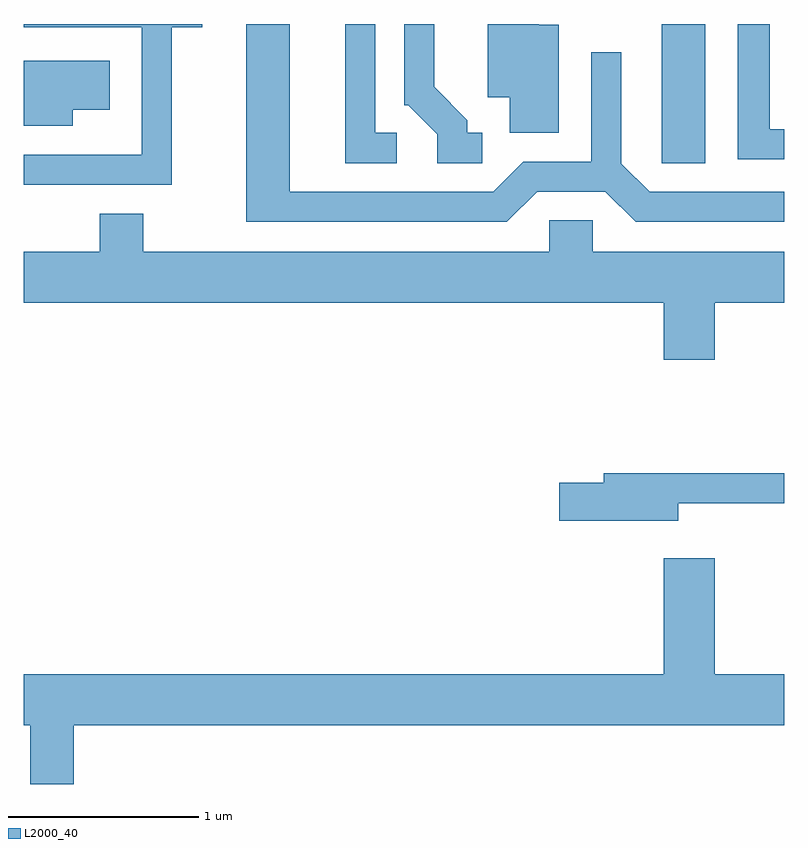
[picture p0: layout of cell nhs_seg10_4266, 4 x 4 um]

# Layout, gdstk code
import gdstk
lib = gdstk.Library(unit=1e-6, precision=1e-09)
def R(c, l, rs):  # rectangles x0, y0, x1, y1
    for r in rs: c.add(gdstk.rectangle(r[:2], r[2:], *l))
def P(c, l, *ps):  # polygons
    for p in ps: c.add(gdstk.Polygon(p, *l))
L2000_40 = (2000, 40)

nhs_seg10_4266 = lib.new_cell('nhs_seg10_4266')
R(nhs_seg10_4266, L2000_40, [(314.966,2085.791,315.194,2086.522)])
P(nhs_seg10_4266, L2000_40, [(314.023,2085.949),(313.944,2085.949),(313.944,2086.017),(313.769,2086.192),(313.769,2086.522),(313.611,2086.522),(313.611,2086.096),(313.634,2086.096),(313.786,2085.943),(313.786,2085.791),(314.023,2085.791)],
  [(315.611,2085.969),(315.534,2085.969),(315.534,2086.522),(315.366,2086.522),(315.366,2085.811),(315.611,2085.811)],
  [(314.424,2086.519),(314.319,2086.519),(314.319,2086.522),(314.051,2086.522),(314.051,2086.136),(314.166,2086.136),(314.166,2085.951),(314.424,2085.951)],
  [(314.312,2085.641),(314.669,2085.641),(314.829,2085.481),(315.611,2085.481),(315.611,2085.639),(314.902,2085.639),(314.754,2085.787),(314.754,2086.373),(314.596,2086.373),(314.596,2085.799),(314.239,2085.799),(314.079,2085.639),(313.009,2085.639),(313.009,2086.522),(312.781,2086.522),(312.781,2085.481),(314.152,2085.481)],
  [(312.389,2086.506),(312.549,2086.506),(312.549,2086.522),(311.611,2086.522),(311.611,2086.506),(312.231,2086.506),(312.231,2085.834),(311.611,2085.834),(311.611,2085.676),(312.389,2085.676)],
  [(313.573,2085.949),(313.459,2085.949),(313.459,2086.522),(313.301,2086.522),(313.301,2085.791),(313.573,2085.791)],
  [(311.869,2086.071),(312.064,2086.071),(312.064,2086.329),(311.611,2086.329),(311.611,2085.986),(311.869,2085.986)],
  [(315.244,2085.056),(315.611,2085.056),(315.611,2085.324),(314.604,2085.324),(314.604,2085.489),(314.376,2085.489),(314.376,2085.324),(312.239,2085.324),(312.239,2085.524),(312.011,2085.524),(312.011,2085.324),(311.611,2085.324),(311.611,2085.056),(314.976,2085.056),(314.976,2084.756),(315.244,2084.756)],
  [(315.054,2084.001),(315.611,2084.001),(315.611,2084.159),(314.661,2084.159),(314.661,2084.109),(314.426,2084.109),(314.426,2083.911),(315.054,2083.911)],
  [(311.874,2082.836),(315.611,2082.836),(315.611,2083.104),(315.244,2083.104),(315.244,2083.714),(314.976,2083.714),(314.976,2083.104),(311.611,2083.104),(311.611,2082.836),(311.646,2082.836),(311.646,2082.526),(311.874,2082.526)])

lib.write_gds('nhs_seg10_4266.gds')
